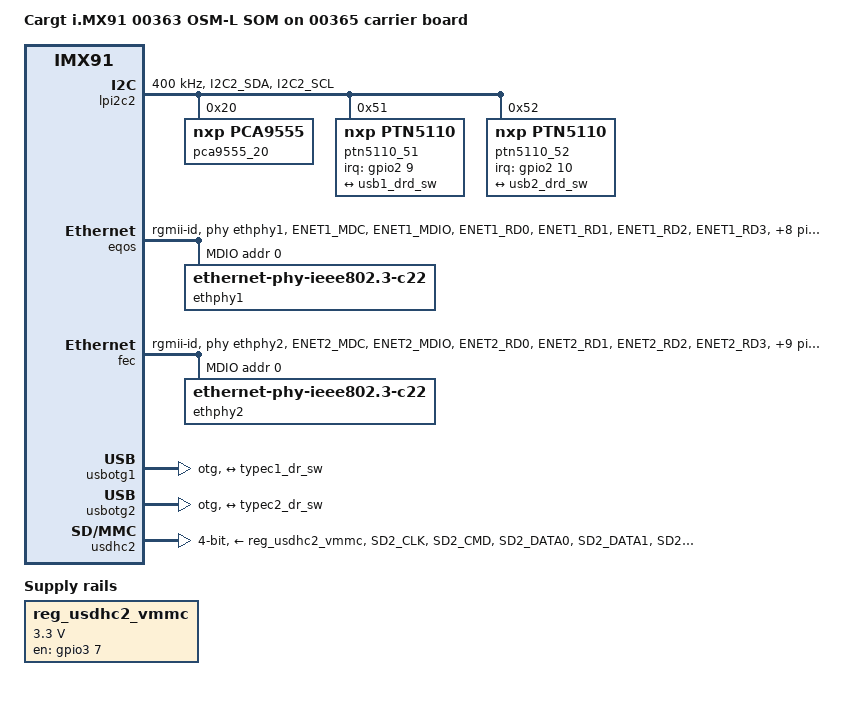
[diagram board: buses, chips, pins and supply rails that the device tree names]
// SPDX-License-Identifier: (GPL-2.0+ OR MIT)
/*
 * Copyright 2025 Cargt Inc.
 */

/dts-v1/;

#include <dt-bindings/usb/pd.h>
#include "imx91-cargt-00363-osm-som.dts"

/ {
	model = "Cargt i.MX91 00363 OSM-L SOM on 00365 carrier board";
	compatible = "cargt,imx91-00363-00365", "fsl,imx91";

	aliases {
		rtc0 = &rtc_i2c;
		rtc1 = &bbnsm_rtc;
	};

	reg_usdhc2_vmmc: regulator-usdhc2 {
		pinctrl-names = "default";
		pinctrl-0 = <&pinctrl_usdhc2_reg>;
		compatible = "regulator-fixed";
		regulator-name = "SDIO_A_PWR_EN";
		regulator-min-microvolt = <3300000>;
		regulator-max-microvolt = <3300000>;
		gpio = <&gpio3 7 GPIO_ACTIVE_HIGH>;
		off-on-delay-us = <12000>;
		enable-active-high;
	};
};

&lpi2c2 {
	#address-cells = <1>;
	#size-cells = <0>;
	clock-frequency = <400000>;
	pinctrl-names = "default", "sleep";
	pinctrl-0 = <&pinctrl_lpi2c2>;
	pinctrl-1 = <&pinctrl_lpi2c2>;
	status = "okay";

	pca9555_20: pca9555@20 {
		compatible = "nxp,pca9555";
		gpio-controller;
		#gpio-cells = <2>;
		reg = <0x20>;
	};

	ptn5110_51: tcpc@51 {
		compatible = "nxp,ptn5110";
		reg = <0x51>;
		pinctrl-names = "default";
		pinctrl-0 = <&pinctrl_ptn5110_51>;
		interrupt-parent = <&gpio2>;
		interrupts = <9 IRQ_TYPE_LEVEL_LOW>;
		status = "okay";

		port {
			typec1_dr_sw: endpoint {
				remote-endpoint = <&usb1_drd_sw>;
			};
		};

		connector {
			compatible = "usb-c-connector";
			label = "USB-C(A)";
			power-role = "dual";
			data-role = "dual";
			try-power-role = "sink";
			source-pdos = <PDO_FIXED(5000, 3000, PDO_FIXED_USB_COMM)>;
			sink-pdos = <PDO_FIXED(5000, 3000, PDO_FIXED_USB_COMM)
					PDO_VAR(5000, 20000, 3000)>;
			op-sink-microwatt = <15000000>;
			self-powered;
		};
	};

	ptn5110_52: tcpc@52 {
		compatible = "nxp,ptn5110";
		reg = <0x52>;
		pinctrl-names = "default";
		pinctrl-0 = <&pinctrl_ptn5110_52>;
		interrupt-parent = <&gpio2>;
		interrupts = <10 IRQ_TYPE_LEVEL_LOW>;
		status = "okay";

		port {
			typec2_dr_sw: endpoint {
				remote-endpoint = <&usb2_drd_sw>;
			};
		};

		connector {
			compatible = "usb-c-connector";
			label = "USB-C(C)";
			power-role = "dual";
			data-role = "dual";
			try-power-role = "sink";
			source-pdos = <PDO_FIXED(5000, 3000, PDO_FIXED_USB_COMM)>;
			sink-pdos = <PDO_FIXED(5000, 3000, PDO_FIXED_USB_COMM)
					PDO_VAR(5000, 20000, 3000)>;
			op-sink-microwatt = <15000000>;
			self-powered;
		};
	};
};

&eqos {
	pinctrl-names = "default";
	pinctrl-0 = <&pinctrl_eqos>;
	phy-mode = "rgmii-id";
	phy-handle = <&ethphy1>;
	snps,reset-gpios = <&pca9555_20 0 GPIO_ACTIVE_LOW>;
	snps,reset-delays-us = <10 20 200000>;
	status = "okay";

	mdio {
		compatible = "snps,dwmac-mdio";
		#address-cells = <1>;
		#size-cells = <0>;

		ethphy1: ethernet-phy@0 {
			compatible = "ethernet-phy-ieee802.3-c22";
			reg = <0>;
			eee-broken-1000t;
		};
	};
};

&fec {
	pinctrl-names = "default";
	pinctrl-0 = <&pinctrl_fec>;
	phy-mode = "rgmii-id";
	phy-handle = <&ethphy2>;
	fsl,magic-packet;
	phy-reset-gpios = <&pca9555_20 1 GPIO_ACTIVE_LOW>;
	phy-reset-duration = <10>;
	phy-reset-post-delay = <150>;
	status = "okay";

	mdio {
		#address-cells = <1>;
		#size-cells = <0>;

		ethphy2: ethernet-phy@0 {
			compatible = "ethernet-phy-ieee802.3-c22";
			reg = <0>;
			eee-broken-1000t;
		};
	};
};

&usbotg1 {
	dr_mode = "otg";
	hnp-disable;
	srp-disable;
	adp-disable;
	usb-role-switch;
	disable-over-current;
	samsung,picophy-pre-emp-curr-control = <3>;
	samsung,picophy-dc-vol-level-adjust = <7>;
	status = "okay";

	port {
		usb1_drd_sw: endpoint {
			remote-endpoint = <&typec1_dr_sw>;
		};
	};
};

&usbotg2 {
	dr_mode = "otg";
	hnp-disable;
	srp-disable;
	adp-disable;
	usb-role-switch;
	disable-over-current;
	samsung,picophy-pre-emp-curr-control = <3>;
	samsung,picophy-dc-vol-level-adjust = <7>;
	status = "okay";

	port {
		usb2_drd_sw: endpoint {
			remote-endpoint = <&typec2_dr_sw>;
		};
	};
};

&usdhc2 {
	pinctrl-names = "default", "state_100mhz", "state_200mhz";
	pinctrl-0 = <&pinctrl_usdhc2>, <&pinctrl_usdhc2_gpio>;
	pinctrl-1 = <&pinctrl_usdhc2_100mhz>, <&pinctrl_usdhc2_gpio>;
	pinctrl-2 = <&pinctrl_usdhc2_200mhz>, <&pinctrl_usdhc2_gpio>;
	vmmc-supply = <&reg_usdhc2_vmmc>;
	cd-gpios = <&gpio3 0 GPIO_ACTIVE_LOW>;
	bus-width = <4>;
	no-sdio;
	no-mmc;
	max-frequency = <104000000>;
	no-1-8-v;
	status = "okay";
};

&iomuxc {
	pinctrl_eqos: eqosgrp {
		fsl,pins = <
			MX91_PAD_ENET1_MDC__ENET1_MDC					0x57e
			MX91_PAD_ENET1_MDIO__ENET_QOS_MDIO				0x57e
			MX91_PAD_ENET1_RD0__ENET_QOS_RGMII_RD0				0x57e
			MX91_PAD_ENET1_RD1__ENET_QOS_RGMII_RD1				0x57e
			MX91_PAD_ENET1_RD2__ENET_QOS_RGMII_RD2				0x57e
			MX91_PAD_ENET1_RD3__ENET_QOS_RGMII_RD3				0x57e
			MX91_PAD_ENET1_RXC__ENET_QOS_RGMII_RXC				0x5fe
			MX91_PAD_ENET1_RX_CTL__ENET_QOS_RGMII_RX_CTL			0x57e
			MX91_PAD_ENET1_TD0__ENET_QOS_RGMII_TD0				0x57e
			MX91_PAD_ENET1_TD1__ENET1_RGMII_TD1				0x57e
			MX91_PAD_ENET1_TD2__ENET_QOS_RGMII_TD2				0x57e
			MX91_PAD_ENET1_TD3__ENET_QOS_RGMII_TD3				0x57e
			MX91_PAD_ENET1_TXC__CCM_ENET_QOS_CLOCK_GENERATE_TX_CLK		0x5fe
			MX91_PAD_ENET1_TX_CTL__ENET_QOS_RGMII_TX_CTL			0x57e
		>;
	};

	pinctrl_fec: fecgrp {
		fsl,pins = <
			MX91_PAD_ENET2_MDC__ENET2_MDC					0x57e
			MX91_PAD_ENET2_MDIO__ENET2_MDIO					0x57e
			MX91_PAD_ENET2_RD0__ENET2_RGMII_RD0				0x57e
			MX91_PAD_ENET2_RD1__ENET2_RGMII_RD1				0x57e
			MX91_PAD_ENET2_RD2__ENET2_RGMII_RD2				0x57e
			MX91_PAD_ENET2_RD3__ENET2_RGMII_RD3				0x57e
			MX91_PAD_ENET2_RXC__ENET2_RGMII_RXC				0x5fe
			MX91_PAD_ENET2_RX_CTL__ENET2_RGMII_RX_CTL			0x57e
			MX91_PAD_ENET2_TD0__ENET2_RGMII_TD0				0x57e
			MX91_PAD_ENET2_TD1__ENET2_RGMII_TD1				0x57e
			MX91_PAD_ENET2_TD2__ENET2_RGMII_TD2				0x57e
			MX91_PAD_ENET2_TD3__ENET2_RGMII_TD3				0x57e
			MX91_PAD_ENET2_TXC__ENET2_RGMII_TXC				0x5fe
			MX91_PAD_ENET2_TX_CTL__ENET2_RGMII_TX_CTL			0x57e
		>;
	};

	pinctrl_lpi2c2: lpi2c2grp {
		fsl,pins = <
			MX91_PAD_I2C2_SDA__LPI2C2_SDA				0x40000b9e
			MX91_PAD_I2C2_SCL__LPI2C2_SCL				0x40000b9e
		>;
	};

	pinctrl_ptn5110_51: ptn5110_51grp {
		fsl,pins = <
			MX91_PAD_GPIO_IO09__GPIO2_IO9				0x31e
		>;
	};

	pinctrl_ptn5110_52: ptn5110_52grp {
		fsl,pins = <
			MX91_PAD_GPIO_IO10__GPIO2_IO10				0x31e
		>;
	};

	pinctrl_usdhc2_reg: usdhc2reggrp {
		fsl,pins = <
			MX91_PAD_SD2_RESET_B__GPIO3_IO7				0x31e /* SDIO_A_PWR_EN */
		>;
	};

	pinctrl_usdhc2_gpio: usdhc2gpiogrp {
		fsl,pins = <
			MX91_PAD_SD2_CD_B__GPIO3_IO0				0x31e
		>;
	};

	pinctrl_usdhc2: usdhc2grp {
		fsl,pins = <
			MX91_PAD_SD2_CLK__USDHC2_CLK				0x1582
			MX91_PAD_SD2_CMD__USDHC2_CMD				0x40001382
			MX91_PAD_SD2_DATA0__USDHC2_DATA0			0x40001382
			MX91_PAD_SD2_DATA1__USDHC2_DATA1			0x40001382
			MX91_PAD_SD2_DATA2__USDHC2_DATA2			0x40001382
			MX91_PAD_SD2_DATA3__USDHC2_DATA3			0x40001382
			MX91_PAD_SD2_VSELECT__USDHC2_VSELECT			0x51e
		>;
	};

	/* need to config the SION for data and cmd pad, refer to ERR052021 */
	pinctrl_usdhc2_100mhz: usdhc2-100mhzgrp {
		fsl,pins = <
			MX91_PAD_SD2_CLK__USDHC2_CLK				0x158e
			MX91_PAD_SD2_CMD__USDHC2_CMD				0x4000138e
			MX91_PAD_SD2_DATA0__USDHC2_DATA0			0x4000138e
			MX91_PAD_SD2_DATA1__USDHC2_DATA1			0x4000138e
			MX91_PAD_SD2_DATA2__USDHC2_DATA2			0x4000138e
			MX91_PAD_SD2_DATA3__USDHC2_DATA3			0x4000138e
			MX91_PAD_SD2_VSELECT__USDHC2_VSELECT			0x51e
		>;
	};

	/* need to config the SION for data and cmd pad, refer to ERR052021 */
	pinctrl_usdhc2_200mhz: usdhc2-200mhzgrp {
		fsl,pins = <
			MX91_PAD_SD2_CLK__USDHC2_CLK				0x15fe
			MX91_PAD_SD2_CMD__USDHC2_CMD				0x400013fe
			MX91_PAD_SD2_DATA0__USDHC2_DATA0			0x400013fe
			MX91_PAD_SD2_DATA1__USDHC2_DATA1			0x400013fe
			MX91_PAD_SD2_DATA2__USDHC2_DATA2			0x400013fe
			MX91_PAD_SD2_DATA3__USDHC2_DATA3			0x400013fe
			MX91_PAD_SD2_VSELECT__USDHC2_VSELECT			0x51e
		>;
	};
};
